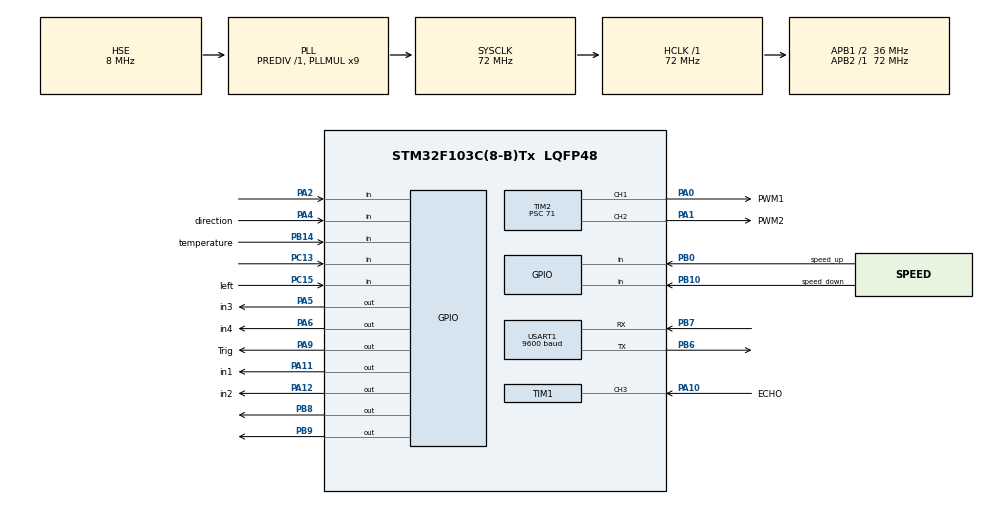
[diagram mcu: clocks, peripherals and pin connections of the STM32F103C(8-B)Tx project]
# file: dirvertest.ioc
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Mcu.Family=STM32F1
Mcu.Name=STM32F103C(8-B)Tx
Mcu.Package=LQFP48
NVIC.PriorityGroup=NVIC_PRIORITYGROUP_4
NVIC.TIM1_CC_IRQn=true\:0\:0\:false\:false\:true\:true\:true\:true
NVIC.USART1_IRQn=true\:0\:0\:false\:false\:true\:true\:true\:true
PA0-WKUP.GPIO_Label=PWM1
PA0-WKUP.Signal=S_TIM2_CH1_ETR
PA1.GPIO_Label=PWM2
PA1.Signal=S_TIM2_CH2
PA10.GPIO_Label=ECHO
PA10.Signal=S_TIM1_CH3
PA11.GPIO_Label=in1
PA11.GPIO_ModeDefaultOutputPP=GPIO_MODE_OUTPUT_PP
PA11.Signal=GPIO_Output
PA12.GPIO_Label=in2
PA12.GPIO_ModeDefaultOutputPP=GPIO_MODE_OUTPUT_PP
PA12.Signal=GPIO_Output
PA13.Mode=Serial_Wire
PA13.Signal=SYS_JTMS-SWDIO
PA14.Mode=Serial_Wire
PA14.Signal=SYS_JTCK-SWCLK
PA2.GPIO_PuPd=GPIO_PULLUP
PA2.Signal=GPIO_Input
PA4.GPIO_Label=direction
PA4.GPIO_PuPd=GPIO_PULLUP
PA4.Signal=GPIO_Input
PA5.GPIO_Label=in3
PA5.Signal=GPIO_Output
PA6.GPIO_Label=in4
PA6.Signal=GPIO_Output
PA9.GPIO_Label=Trig
PA9.Signal=GPIO_Output
PB0.GPIO_Label=speed_up
PB0.GPIO_PuPd=GPIO_PULLUP
PB0.Signal=GPIO_Input
PB10.GPIO_Label=speed_down
PB10.GPIO_PuPd=GPIO_PULLUP
PB10.Signal=GPIO_Input
PB14.GPIO_Label=temperature
PB14.Signal=GPIO_Input
PB6.Mode=Asynchronous
PB6.Signal=USART1_TX
PB7.Mode=Asynchronous
PB7.Signal=USART1_RX
PB8.GPIO_ModeDefaultOutputPP=GPIO_MODE_OUTPUT_OD
PB8.GPIO_PuPd=GPIO_NOPULL
PB8.Signal=GPIO_Output
PB9.GPIO_ModeDefaultOutputPP=GPIO_MODE_OUTPUT_OD
PB9.GPIO_PuPd=GPIO_NOPULL
PB9.Signal=GPIO_Output
PC13-TAMPER-RTC.GPIO_PuPd=GPIO_PULLUP
PC13-TAMPER-RTC.Signal=GPIO_Input
PC15-OSC32_OUT.GPIO_Label=left
PC15-OSC32_OUT.GPIO_PuPd=GPIO_PULLUP
PC15-OSC32_OUT.Signal=GPIO_Input
PD0-OSC_IN.Mode=HSE-External-Oscillator
PD0-OSC_IN.Signal=RCC_OSC_IN
PD1-OSC_OUT.Mode=HSE-External-Oscillator
PD1-OSC_OUT.Signal=RCC_OSC_OUT
ProjectManager.HeapSize=0x200
ProjectManager.StackSize=0x400
ProjectManager.TargetToolchain=CMake
RCC.AHBFreq_Value=72000000
RCC.APB1CLKDivider=RCC_HCLK_DIV2
RCC.APB1Freq_Value=36000000
RCC.APB1TimFreq_Value=72000000
RCC.APB2Freq_Value=72000000
RCC.APB2TimFreq_Value=72000000
RCC.HCLKFreq_Value=72000000
RCC.PLLMUL=RCC_PLL_MUL9
RCC.PLLSourceVirtual=RCC_PLLSOURCE_HSE
RCC.SYSCLKFreq_VALUE=72000000
RCC.SYSCLKSource=RCC_SYSCLKSOURCE_PLLCLK
RCC.USBFreq_Value=72000000
SH.S_TIM1_CH3.0=TIM1_CH3,Input_Capture3_from_TI3
SH.S_TIM2_CH1_ETR.0=TIM2_CH1,PWM Generation1 CH1
SH.S_TIM2_CH2.0=TIM2_CH2,PWM Generation2 CH2
TIM1.AutoReloadPreload=TIM_AUTORELOAD_PRELOAD_DISABLE
TIM1.Channel-Input_Capture3_from_TI3=TIM_CHANNEL_3
TIM1.Channel-Input_Capture4_from_TI3_63=TIM_CHANNEL_4
TIM1.ICFilter_CH3=0
TIM1.ICPolarity_CH4=TIM_INPUTCHANNELPOLARITY_FALLING
TIM1.Period=65535
TIM1.Prescaler=71
TIM2.AutoReloadPreload=TIM_AUTORELOAD_PRELOAD_ENABLE
TIM2.Channel-PWM\ Generation1\ CH1=TIM_CHANNEL_1
TIM2.Channel-PWM\ Generation2\ CH2=TIM_CHANNEL_2
TIM2.Period=99
TIM2.Prescaler=71
TIM2.Pulse-PWM\ Generation1\ CH1=50
TIM2.Pulse-PWM\ Generation2\ CH2=50
USART1.BaudRate=9600
USART1.VirtualMode=VM_ASYNC
VP_TIM1_VS_ClockSourceINT.Mode=Internal
VP_TIM1_VS_indirect_ch3.Mode=Input_Capture4_from_TI3_63
VP_TIM2_VS_ClockSourceINT.Mode=Internal
board=custom

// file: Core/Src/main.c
/* USER CODE BEGIN Header */
/**
  ******************************************************************************
  * @file           : main.c
  * @brief          : Main program body
  ******************************************************************************
  * @attention
  *
  * Copyright (c) 2026 STMicroelectronics.
  * All rights reserved.
  *
  * This software is licensed under terms that can be found in the LICENSE file
  * in the root directory of this software component.
  * If no LICENSE file comes with this software, it is provided AS-IS.
  *
  ******************************************************************************
  */
/* USER CODE END Header */
#include "main.h"

/* USER CODE BEGIN Includes */
#include "math.h"
#include "ds18b20.h"
#include "OLED.h"
#include "stdio.h"
#include "string.h"

/* USER CODE END Includes */

TIM_HandleTypeDef htim1;
TIM_HandleTypeDef htim2;

UART_HandleTypeDef huart1;

/* USER CODE BEGIN PV */
  uint8_t rx_data;          // 接收串口数据
  uint8_t bt_turn = 0;      // 蓝牙转向标志：0:直行, 1:左转, 2:右转
  int speed = 0;//转速（占空比）
  uint8_t mode = 0;//模式（0自动1手动）
  uint8_t direction = 0;//电机转动方向
/* USER CODE END PV */

void SystemClock_Config(void);
static void MX_GPIO_Init(void);
static void MX_TIM2_Init(void);
static void MX_TIM1_Init(void);
static void MX_USART1_UART_Init(void);

/* USER CODE BEGIN 0 */
float Get_Distance(void)
{
	HAL_GPIO_WritePin(GPIOA, GPIO_PIN_9, GPIO_PIN_SET);
	HAL_Delay(1);
	HAL_GPIO_WritePin(GPIOA, GPIO_PIN_9, GPIO_PIN_RESET);
	__HAL_TIM_SET_COUNTER(&htim1, 0);
	HAL_Delay(20);
	int upEdge = HAL_TIM_ReadCapturedValue(&htim1, TIM_CHANNEL_3);
	int downEdge = HAL_TIM_ReadCapturedValue(&htim1, TIM_CHANNEL_4);
	float distance = ((downEdge - upEdge) * 0.034) / 2;
	return distance;
}

/* USER CODE END 0 */

int main(void)
{

  /* MCU Configuration--------------------------------------------------------*/

  /* Reset of all peripherals, Initializes the Flash interface and the Systick. */
  HAL_Init();

  /* USER CODE BEGIN Init */
	OLED_Init();

  /* USER CODE END Init */

  /* Configure the system clock */
  SystemClock_Config();

  /* Initialize all configured peripherals */
  MX_GPIO_Init();
  MX_TIM2_Init();
  MX_TIM1_Init();
  MX_USART1_UART_Init();
  /* USER CODE BEGIN 2 */
  //测温初始化
  if(DS18B20_Init() == 0)
	{
    // 初始化成功
		OLED_ShowString(4, 1, "DS18B20 OK");
		DS18B20_Get_Temperature();
		HAL_Delay(800);
	}
	else
	{
    // 初始化失败（检查接线）
		OLED_ShowString(4, 1, "DS18B20 Err");
	}
	HAL_Delay(200);
	//超声波测距启动
	HAL_TIM_IC_Start(&htim1, TIM_CHANNEL_3);
	HAL_TIM_IC_Start(&htim1, TIM_CHANNEL_4);
	//PWM初始化
  HAL_TIM_PWM_Start(&htim2, TIM_CHANNEL_1);
	HAL_TIM_PWM_Start(&htim2, TIM_CHANNEL_2);
  OLED_ShowString(1, 1, "PWM:");
  char p[10];
  short temperature = DS18B20_Get_Temperature();//（温度）
  HAL_UART_Receive_IT(&huart1, &rx_data, 1);

//	uint32_t time_dece = 0;

  /* USER CODE END 2 */

  /* Infinite loop */
  /* USER CODE BEGIN WHILE */
  while (1)
  {
	  //转动方向切换
	  if(HAL_GPIO_ReadPin(GPIOA, GPIO_PIN_4) == GPIO_PIN_RESET)
	  {
		  HAL_Delay(20);
//		  if (uwTick - time_dece < 10) return;
//		  time_dece = uwTick;
		  if(HAL_GPIO_ReadPin(GPIOA,GPIO_PIN_4) == GPIO_PIN_RESET)
		  {
			  //安全防护，防止直接切换烧坏芯片
			  if(speed > 0)
			  {
				  __HAL_TIM_SET_COMPARE(&htim2, TIM_CHANNEL_1, 0);
				  __HAL_TIM_SET_COMPARE(&htim2, TIM_CHANNEL_2, 0);
				  HAL_Delay(200);
			  }
			  direction = !direction;
			  while(HAL_GPIO_ReadPin(GPIOA, GPIO_PIN_4) == GPIO_PIN_RESET);
		  }
	  }
	  //模式切换
	  if(HAL_GPIO_ReadPin(GPIOA, GPIO_PIN_2) == GPIO_PIN_RESET)
	  {
		  HAL_Delay(20);
		  if(HAL_GPIO_ReadPin(GPIOA, GPIO_PIN_2) == GPIO_PIN_RESET)
		  {
			  mode = (mode + 1) % 3;
			  while(HAL_GPIO_ReadPin(GPIOA, GPIO_PIN_2) == GPIO_PIN_RESET);
		  }
	  }
	  if(direction == 0)
	  {
		  HAL_GPIO_WritePin(GPIOA, GPIO_PIN_11, GPIO_PIN_RESET);
          HAL_GPIO_WritePin(GPIOA, GPIO_PIN_12, GPIO_PIN_SET);

		  HAL_GPIO_WritePin(GPIOA, GPIO_PIN_5, GPIO_PIN_RESET);
          HAL_GPIO_WritePin(GPIOA, GPIO_PIN_6, GPIO_PIN_SET);
	  }
	  else
	  {
		  HAL_GPIO_WritePin(GPIOA, GPIO_PIN_11, GPIO_PIN_SET);
          HAL_GPIO_WritePin(GPIOA, GPIO_PIN_12, GPIO_PIN_RESET);

		  HAL_GPIO_WritePin(GPIOA, GPIO_PIN_5, GPIO_PIN_SET);
          HAL_GPIO_WritePin(GPIOA, GPIO_PIN_6, GPIO_PIN_RESET);
	  }
	  //自动改变speed
	  if(mode == 0)
	  {
	  short current_temperature = DS18B20_Get_Temperature();
	  if(current_temperature - temperature >= 5 || temperature - current_temperature >= 5)
	  {
		  temperature = current_temperature;
		  int temp = temperature / 10;
		  if(temp >= 35)
			  speed = 100;
		  else if(temp >= 30)
			  speed = 80;
		  else if(temp >= 26)
			  speed = 60;
		  else if(temp >= 24)
			  speed = 40;
		  else if(temp >= 22)
			  speed = 20;
		  else
			  speed = 0;
		  HAL_Delay(20);
	  }
  }
	  //手动改变speed
	  else if(mode == 1)
	  {
	  if(HAL_GPIO_ReadPin(GPIOB, GPIO_PIN_0) == GPIO_PIN_RESET)
	  {
		  speed += 5;
		  if(speed >= 100)
		  {
			  speed = 100;
		  }
		  HAL_Delay(20);
	  }
	  if(HAL_GPIO_ReadPin(GPIOB, GPIO_PIN_10) == GPIO_PIN_RESET)
	  {
		  speed -= 5;
		  if(speed <= 0)
		  {
			  speed = 0;
		  }
		  HAL_Delay(20);
	  }

    }
	  uint16_t ccr_left = 0;
      uint16_t ccr_right = 0;
      uint16_t base_ccr = (speed == 0) ? 0 : (speed < 20 ? 20 : speed);

	uint8_t final_turn = bt_turn;
	//蓝牙与超声波避障
	if(mode == 2)
	{
		float d = Get_Distance();
		char dis_str[16];
		sprintf(dis_str, "%.1fcm", d);
		OLED_ShowString(3, 10, "Dis:");
		OLED_ShowString(3, 14, dis_str);
		if(d <= 40)
		{
			final_turn = 2;
		}
	}

	  if(HAL_GPIO_ReadPin(GPIOC, GPIO_PIN_15) == GPIO_PIN_RESET || (mode == 2 && final_turn == 1))
	  {
		  ccr_left = 0;//base_ccr / 2;
		  ccr_right = base_ccr;
	  }
	  else if(HAL_GPIO_ReadPin(GPIOC, GPIO_PIN_13) == GPIO_PIN_RESET || (mode == 2 && final_turn == 2))
	  {
		  ccr_left = base_ccr;
		  ccr_right = 0;//base_ccr / 2;
	  }
	  else
	  {
		  ccr_left = base_ccr;
		  ccr_right = base_ccr;
	  }
	  __HAL_TIM_SET_COMPARE(&htim2, TIM_CHANNEL_1, ccr_left);
	  __HAL_TIM_SET_COMPARE(&htim2, TIM_CHANNEL_2, ccr_right);
	  int temp_int = temperature / 10;      // 整数部分（如 25）
	  int temp_dec = temperature % 10;      //小数
	  sprintf(p, "%3d%%", speed);
	  OLED_ShowString(1, 5, p);
	  OLED_ShowString(2, 1, "tem:");
	  OLED_ShowNum(2, 6, temp_int, 2);
	  OLED_ShowChar(2, 8, '.');
      OLED_ShowNum(2, 9, temp_dec, 1);
	  if(direction == 0)
	  {
		  OLED_ShowString(3, 6, "FWD");
	  }
	  else
	  {
		  OLED_ShowString(3, 6, "REV");
	  }
      if(mode == 0)
	  {
		  OLED_ShowString(3, 1, "AUTO");
	  }
	  else if(mode == 1)
	  {
		  OLED_ShowString(3, 1, "HAND");
	  }
	  else
	  {
		  OLED_ShowString(3, 1, "BLUE");
	  }
	  HAL_Delay(20);
    /* USER CODE END WHILE */

  }
}

void SystemClock_Config(void)
{
  RCC_OscInitTypeDef RCC_OscInitStruct = {0};
  RCC_ClkInitTypeDef RCC_ClkInitStruct = {0};

  /** Initializes the RCC Oscillators according to the specified parameters
  * in the RCC_OscInitTypeDef structure.
  */
  RCC_OscInitStruct.OscillatorType = RCC_OSCILLATORTYPE_HSE;
  RCC_OscInitStruct.HSEState = RCC_HSE_ON;
  RCC_OscInitStruct.HSEPredivValue = RCC_HSE_PREDIV_DIV1;
  RCC_OscInitStruct.HSIState = RCC_HSI_ON;
  RCC_OscInitStruct.PLL.PLLState = RCC_PLL_ON;
  RCC_OscInitStruct.PLL.PLLSource = RCC_PLLSOURCE_HSE;
  RCC_OscInitStruct.PLL.PLLMUL = RCC_PLL_MUL9;
  if (HAL_RCC_OscConfig(&RCC_OscInitStruct) != HAL_OK)
  {
    Error_Handler();
  }

  /** Initializes the CPU, AHB and APB buses clocks
  */
  RCC_ClkInitStruct.ClockType = RCC_CLOCKTYPE_HCLK|RCC_CLOCKTYPE_SYSCLK
                              |RCC_CLOCKTYPE_PCLK1|RCC_CLOCKTYPE_PCLK2;
  RCC_ClkInitStruct.SYSCLKSource = RCC_SYSCLKSOURCE_PLLCLK;
  RCC_ClkInitStruct.AHBCLKDivider = RCC_SYSCLK_DIV1;
  RCC_ClkInitStruct.APB1CLKDivider = RCC_HCLK_DIV2;
  RCC_ClkInitStruct.APB2CLKDivider = RCC_HCLK_DIV1;

  if (HAL_RCC_ClockConfig(&RCC_ClkInitStruct, FLASH_LATENCY_2) != HAL_OK)
  {
    Error_Handler();
  }
}

static void MX_TIM1_Init(void)
{

  TIM_ClockConfigTypeDef sClockSourceConfig = {0};
  TIM_MasterConfigTypeDef sMasterConfig = {0};
  TIM_IC_InitTypeDef sConfigIC = {0};

  htim1.Instance = TIM1;
  htim1.Init.Prescaler = 71;
  htim1.Init.CounterMode = TIM_COUNTERMODE_UP;
  htim1.Init.Period = 65535;
  htim1.Init.ClockDivision = TIM_CLOCKDIVISION_DIV1;
  htim1.Init.RepetitionCounter = 0;
  htim1.Init.AutoReloadPreload = TIM_AUTORELOAD_PRELOAD_DISABLE;
  if (HAL_TIM_Base_Init(&htim1) != HAL_OK)
  {
    Error_Handler();
  }
  sClockSourceConfig.ClockSource = TIM_CLOCKSOURCE_INTERNAL;
  if (HAL_TIM_ConfigClockSource(&htim1, &sClockSourceConfig) != HAL_OK)
  {
    Error_Handler();
  }
  if (HAL_TIM_IC_Init(&htim1) != HAL_OK)
  {
    Error_Handler();
  }
  sMasterConfig.MasterOutputTrigger = TIM_TRGO_RESET;
  sMasterConfig.MasterSlaveMode = TIM_MASTERSLAVEMODE_DISABLE;
  if (HAL_TIMEx_MasterConfigSynchronization(&htim1, &sMasterConfig) != HAL_OK)
  {
    Error_Handler();
  }
  sConfigIC.ICPolarity = TIM_INPUTCHANNELPOLARITY_RISING;
  sConfigIC.ICSelection = TIM_ICSELECTION_DIRECTTI;
  sConfigIC.ICPrescaler = TIM_ICPSC_DIV1;
  sConfigIC.ICFilter = 0;
  if (HAL_TIM_IC_ConfigChannel(&htim1, &sConfigIC, TIM_CHANNEL_3) != HAL_OK)
  {
    Error_Handler();
  }
  sConfigIC.ICPolarity = TIM_INPUTCHANNELPOLARITY_FALLING;
  sConfigIC.ICSelection = TIM_ICSELECTION_INDIRECTTI;
  if (HAL_TIM_IC_ConfigChannel(&htim1, &sConfigIC, TIM_CHANNEL_4) != HAL_OK)
  {
    Error_Handler();
  }

}

static void MX_TIM2_Init(void)
{

  TIM_ClockConfigTypeDef sClockSourceConfig = {0};
  TIM_MasterConfigTypeDef sMasterConfig = {0};
  TIM_OC_InitTypeDef sConfigOC = {0};

  htim2.Instance = TIM2;
  htim2.Init.Prescaler = 71;
  htim2.Init.CounterMode = TIM_COUNTERMODE_UP;
  htim2.Init.Period = 99;
  htim2.Init.ClockDivision = TIM_CLOCKDIVISION_DIV1;
  htim2.Init.AutoReloadPreload = TIM_AUTORELOAD_PRELOAD_ENABLE;
  if (HAL_TIM_Base_Init(&htim2) != HAL_OK)
  {
    Error_Handler();
  }
  sClockSourceConfig.ClockSource = TIM_CLOCKSOURCE_INTERNAL;
  if (HAL_TIM_ConfigClockSource(&htim2, &sClockSourceConfig) != HAL_OK)
  {
    Error_Handler();
  }
  if (HAL_TIM_PWM_Init(&htim2) != HAL_OK)
  {
    Error_Handler();
  }
  sMasterConfig.MasterOutputTrigger = TIM_TRGO_RESET;
  sMasterConfig.MasterSlaveMode = TIM_MASTERSLAVEMODE_DISABLE;
  if (HAL_TIMEx_MasterConfigSynchronization(&htim2, &sMasterConfig) != HAL_OK)
  {
    Error_Handler();
  }
  sConfigOC.OCMode = TIM_OCMODE_PWM1;
  sConfigOC.Pulse = 50;
  sConfigOC.OCPolarity = TIM_OCPOLARITY_HIGH;
  sConfigOC.OCFastMode = TIM_OCFAST_DISABLE;
  if (HAL_TIM_PWM_ConfigChannel(&htim2, &sConfigOC, TIM_CHANNEL_1) != HAL_OK)
  {
    Error_Handler();
  }
  if (HAL_TIM_PWM_ConfigChannel(&htim2, &sConfigOC, TIM_CHANNEL_2) != HAL_OK)
  {
    Error_Handler();
  }
  HAL_TIM_MspPostInit(&htim2);

}

static void MX_USART1_UART_Init(void)
{

  huart1.Instance = USART1;
  huart1.Init.BaudRate = 9600;
  huart1.Init.WordLength = UART_WORDLENGTH_8B;
  huart1.Init.StopBits = UART_STOPBITS_1;
  huart1.Init.Parity = UART_PARITY_NONE;
  huart1.Init.Mode = UART_MODE_TX_RX;
  huart1.Init.HwFlowCtl = UART_HWCONTROL_NONE;
  huart1.Init.OverSampling = UART_OVERSAMPLING_16;
  if (HAL_UART_Init(&huart1) != HAL_OK)
  {
    Error_Handler();
  }

}

static void MX_GPIO_Init(void)
{
  GPIO_InitTypeDef GPIO_InitStruct = {0};

  /* GPIO Ports Clock Enable */
  __HAL_RCC_GPIOC_CLK_ENABLE();
  __HAL_RCC_GPIOD_CLK_ENABLE();
  __HAL_RCC_GPIOA_CLK_ENABLE();
  __HAL_RCC_GPIOB_CLK_ENABLE();

  /*Configure GPIO pin Output Level */
  HAL_GPIO_WritePin(GPIOA, in3_Pin|in4_Pin|Trig_Pin|in1_Pin
                          |in2_Pin, GPIO_PIN_RESET);

  /*Configure GPIO pin Output Level */
  HAL_GPIO_WritePin(GPIOB, GPIO_PIN_8|GPIO_PIN_9, GPIO_PIN_RESET);

  /*Configure GPIO pins : PC13 left_Pin */
  GPIO_InitStruct.Pin = GPIO_PIN_13|left_Pin;
  GPIO_InitStruct.Mode = GPIO_MODE_INPUT;
  GPIO_InitStruct.Pull = GPIO_PULLUP;
  HAL_GPIO_Init(GPIOC, &GPIO_InitStruct);

  /*Configure GPIO pins : PA2 direction_Pin */
  GPIO_InitStruct.Pin = GPIO_PIN_2|direction_Pin;
  GPIO_InitStruct.Mode = GPIO_MODE_INPUT;
  GPIO_InitStruct.Pull = GPIO_PULLUP;
  HAL_GPIO_Init(GPIOA, &GPIO_InitStruct);

  /*Configure GPIO pins : in3_Pin in4_Pin Trig_Pin in1_Pin
                           in2_Pin */
  GPIO_InitStruct.Pin = in3_Pin|in4_Pin|Trig_Pin|in1_Pin
                          |in2_Pin;
  GPIO_InitStruct.Mode = GPIO_MODE_OUTPUT_PP;
  GPIO_InitStruct.Pull = GPIO_NOPULL;
  GPIO_InitStruct.Speed = GPIO_SPEED_FREQ_LOW;
  HAL_GPIO_Init(GPIOA, &GPIO_InitStruct);

  /*Configure GPIO pins : speed_up_Pin speed_down_Pin */
  GPIO_InitStruct.Pin = speed_up_Pin|speed_down_Pin;
  GPIO_InitStruct.Mode = GPIO_MODE_INPUT;
  GPIO_InitStruct.Pull = GPIO_PULLUP;
  HAL_GPIO_Init(GPIOB, &GPIO_InitStruct);

  /*Configure GPIO pin : temperature_Pin */
  GPIO_InitStruct.Pin = temperature_Pin;
  GPIO_InitStruct.Mode = GPIO_MODE_INPUT;
  GPIO_InitStruct.Pull = GPIO_NOPULL;
  HAL_GPIO_Init(temperature_GPIO_Port, &GPIO_InitStruct);

  /*Configure GPIO pins : PB8 PB9 */
  GPIO_InitStruct.Pin = GPIO_PIN_8|GPIO_PIN_9;
  GPIO_InitStruct.Mode = GPIO_MODE_OUTPUT_OD;
  GPIO_InitStruct.Pull = GPIO_NOPULL;
  GPIO_InitStruct.Speed = GPIO_SPEED_FREQ_LOW;
  HAL_GPIO_Init(GPIOB, &GPIO_InitStruct);

}

/* USER CODE BEGIN 4 */
// 串口中断回调函数
void HAL_UART_RxCpltCallback(UART_HandleTypeDef *huart)
{
    if(huart->Instance == USART1)
    {
        // 只有在蓝牙模式 (mode == 2) 下才响应指令
        extern uint8_t mode;
        extern int speed;
        extern uint8_t direction;

        if(mode == 2)
        {
            if(rx_data == 'F')      direction = 0; // 前进
            else if(rx_data == 'B') direction = 1; // 后退
            else if(rx_data == 'L') bt_turn = 1;   // 左转
            else if(rx_data == 'R') bt_turn = 2;   // 右转
            else if(rx_data == 'S') bt_turn = 0;   // 停止转向(直行)
            else if(rx_data == '+') { speed += 10; if(speed > 100) speed = 100; } // 加速
            else if(rx_data == '-') { speed -= 10; if(speed < 0) speed = 0; }     // 减速
        }
        // 重新开启中断接收下一个字符
        HAL_UART_Receive_IT(&huart1, &rx_data, 1);
    }
}
/* USER CODE END 4 */

void Error_Handler(void)
{
  __disable_irq();
  while (1)
  {
  }
}
